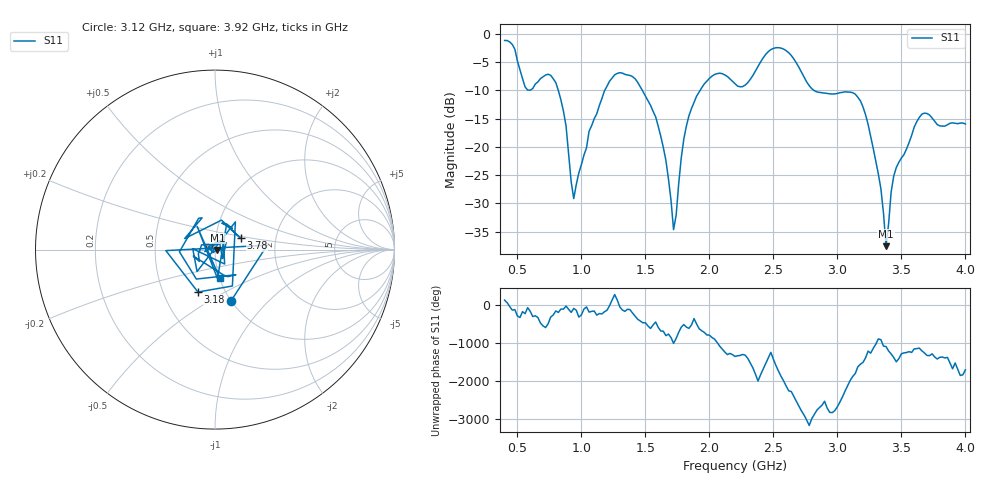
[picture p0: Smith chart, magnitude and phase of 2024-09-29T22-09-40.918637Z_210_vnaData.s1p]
!Created with skrf (http://scikit-rf.org).
# Hz S RI R 50.0
!freq ReS11 ImS11
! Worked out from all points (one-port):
!   181 points, 400 MHz to 4 GHz, reference 50 ohm
!   lowest |S11| = -37.6 dB at 3.38 GHz (marker M1), VSWR 1.03, Z = 51.3 - j0.207 ohm
!   |S11| at or under -10 dB: 819.2 MHz to 1.183 GHz (363.6 MHz wide, 36.3 % of centre); 1.475 GHz to 1.928 GHz (452.6 MHz wide, 26.6 % of centre); 2.816 GHz to end of sweep
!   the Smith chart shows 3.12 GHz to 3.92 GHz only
!   S11 on the Smith chart (normalised r, x): 3.12 GHz: 1.00, -0.63; 3.18 GHz: 0.75, -0.38; 3.78 GHz: 1.32, +0.17; 3.92 GHz: 1.00, -0.33
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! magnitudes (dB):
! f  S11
! 400 MHz  -1.2
! 580 MHz  -10.0
! 760 MHz  -7.4
! 860 MHz  -13.7
! 940 MHz  -29.2
! 1.06 GHz  -17.2
! 1.3 GHz  -6.9
! 1.58 GHz  -14.7
! 1.66 GHz  -22.4
! 1.72 GHz  -34.7
! 1.76 GHz  -26.6
! 1.82 GHz  -16.3
! 1.9 GHz  -11.1
! 2.2 GHz  -8.8
! 2.5 GHz  -2.6
! 2.66 GHz  -4.5
! 2.82 GHz  -10.1
! 3.1 GHz  -10.3
! 3.12 GHz  -10.4
! 3.18 GHz  -11.9
! 3.32 GHz  -24.8
! 3.38 GHz  -37.6
! 3.44 GHz  -25.2
! 3.56 GHz  -19.3
! 3.66 GHz  -14.2
! 3.78 GHz  -16.1
! 3.92 GHz  -15.8
! 4 GHz  -16.0
